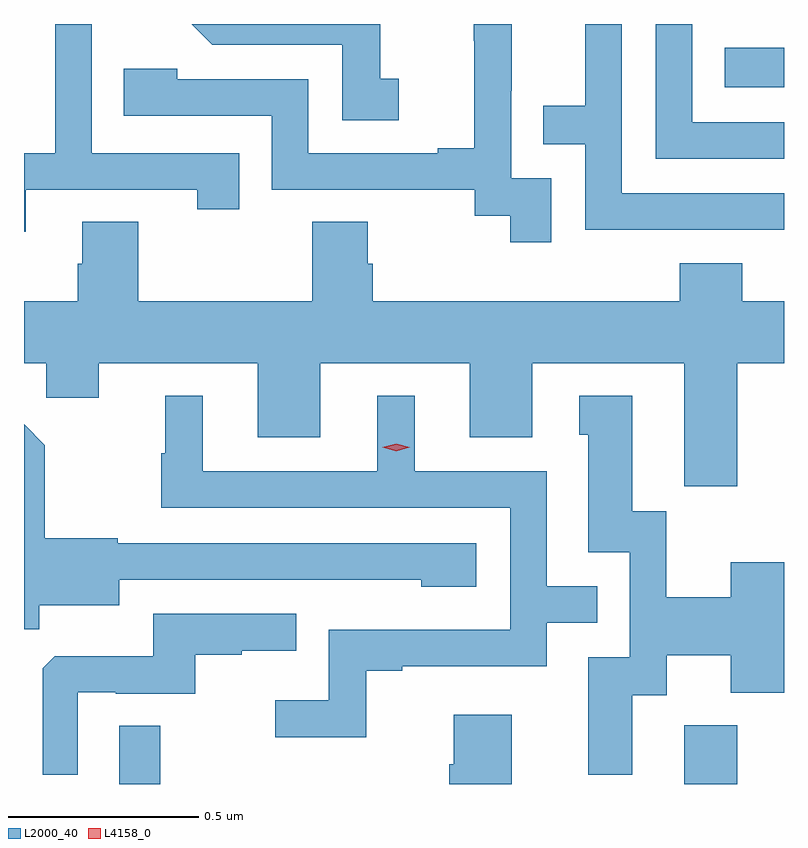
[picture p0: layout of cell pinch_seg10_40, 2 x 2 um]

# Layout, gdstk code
import gdstk
lib = gdstk.Library(unit=1e-6, precision=1e-09)
def R(c, l, rs):  # rectangles x0, y0, x1, y1
    for r in rs: c.add(gdstk.rectangle(r[:2], r[2:], *l))
def P(c, l, *ps):  # polygons
    for p in ps: c.add(gdstk.Polygon(p, *l))
L2000_40 = (2000, 40)
L4158_0 = (4158, 0)

pinch_seg10_40 = lib.new_cell('pinch_seg10_40')
R(pinch_seg10_40, L2000_40, [(900.108,1277.897,900.217,1278.05), (901.595,1277.897,901.735,1278.052), (901.702,1279.73,901.858,1279.834)])
P(pinch_seg10_40, L2000_40, [(901.858,1279.638),(901.617,1279.638),(901.617,1279.897),(901.521,1279.897),(901.521,1279.542),(901.858,1279.542)],
  [(901.858,1279.452),(901.431,1279.452),(901.431,1279.897),(901.335,1279.897),(901.335,1279.682),(901.225,1279.682),(901.225,1279.581),(901.335,1279.581),(901.335,1279.356),(901.831,1279.356),(901.831,1279.355),(901.858,1279.355)],
  [(899.863,1279.461),(900.314,1279.461),(900.314,1279.41),(900.425,1279.41),(900.425,1279.557),(900.036,1279.557),(900.036,1279.897),(899.94,1279.897),(899.94,1279.557),(899.858,1279.557),(899.858,1279.35),(899.863,1279.35)],
  [(900.844,1279.753),(900.795,1279.753),(900.795,1279.897),(900.299,1279.897),(900.354,1279.842),(900.696,1279.842),(900.696,1279.644),(900.844,1279.644)],
  [(901.245,1279.491),(901.14,1279.491),(901.14,1279.721),(901.142,1279.721),(901.142,1279.897),(901.042,1279.897),(901.042,1279.853),(901.043,1279.853),(901.043,1279.57),(900.947,1279.57),(900.947,1279.557),(900.606,1279.557),(900.606,1279.752),(900.261,1279.752),(900.261,1279.779),(900.121,1279.779),(900.121,1279.656),(900.51,1279.656),(900.51,1279.461),(901.044,1279.461),(901.044,1279.393),(901.137,1279.393),(901.137,1279.323),(901.245,1279.323)],
  [(901.735,1279.004),(901.858,1279.004),(901.858,1279.168),(901.748,1279.168),(901.748,1279.267),(901.583,1279.267),(901.583,1279.168),(900.776,1279.168),(900.776,1279.266),(900.763,1279.266),(900.763,1279.376),(900.616,1279.376),(900.616,1279.168),(900.159,1279.168),(900.159,1279.376),(900.011,1279.376),(900.011,1279.266),(899.999,1279.266),(899.999,1279.168),(899.858,1279.168),(899.858,1279.004),(899.917,1279.004),(899.917,1278.914),(900.055,1278.914),(900.055,1279.004),(900.473,1279.004),(900.473,1278.81),(900.637,1278.81),(900.637,1279.004),(901.031,1279.004),(901.031,1278.81),(901.195,1278.81),(901.195,1279.004),(901.595,1279.004),(901.595,1278.793),(901.596,1278.793),(901.596,1278.681),(901.735,1278.681)],
  [(901.459,1278.13),(901.549,1278.13),(901.549,1278.236),(901.718,1278.236),(901.718,1278.137),(901.858,1278.137),(901.858,1278.481),(901.718,1278.481),(901.718,1278.388),(901.548,1278.388),(901.548,1278.615),(901.459,1278.615),(901.459,1278.919),(901.319,1278.919),(901.319,1278.816),(901.343,1278.816),(901.343,1278.507),(901.452,1278.507),(901.452,1278.231),(901.343,1278.231),(901.343,1277.922),(901.459,1277.922)],
  [(900.759,1278.195),(900.853,1278.195),(900.853,1278.207),(901.233,1278.207),(901.233,1278.321),(901.367,1278.321),(901.367,1278.417),(901.233,1278.417),(901.233,1278.72),(900.886,1278.72),(900.886,1278.919),(900.788,1278.919),(900.788,1278.72),(900.328,1278.72),(900.328,1278.919),(900.23,1278.919),(900.23,1278.768),(900.219,1278.768),(900.219,1278.624),(901.137,1278.624),(901.137,1278.303),(900.66,1278.303),(900.66,1278.118),(900.519,1278.118),(900.519,1278.02),(900.759,1278.02)],
  [(899.898,1278.368),(900.109,1278.368),(900.109,1278.435),(900.667,1278.435),(900.667,1278.434),(900.903,1278.434),(900.903,1278.416),(901.048,1278.416),(901.048,1278.531),(900.105,1278.531),(900.105,1278.544),(899.913,1278.544),(899.913,1278.789),(899.858,1278.844),(899.858,1278.304),(899.898,1278.304)],
  [(900,1278.138),(900.1,1278.138),(900.1,1278.135),(900.308,1278.135),(900.308,1278.237),(900.431,1278.237),(900.431,1278.248),(900.575,1278.248),(900.575,1278.345),(900.198,1278.345),(900.198,1278.233),(899.939,1278.233),(899.907,1278.201),(899.907,1277.921),(900,1277.921)],
  [(901.141,1278.079),(900.989,1278.079),(900.989,1277.949),(900.977,1277.949),(900.977,1277.897),(901.141,1277.897)])
P(pinch_seg10_40, L4158_0, [(900.837,1278.773),(900.801,1278.783),(900.801,1278.783),(900.801,1278.783),(900.837,1278.793),(900.873,1278.783),(900.873,1278.783),(900.873,1278.783)])

lib.write_gds('pinch_seg10_40.gds')
